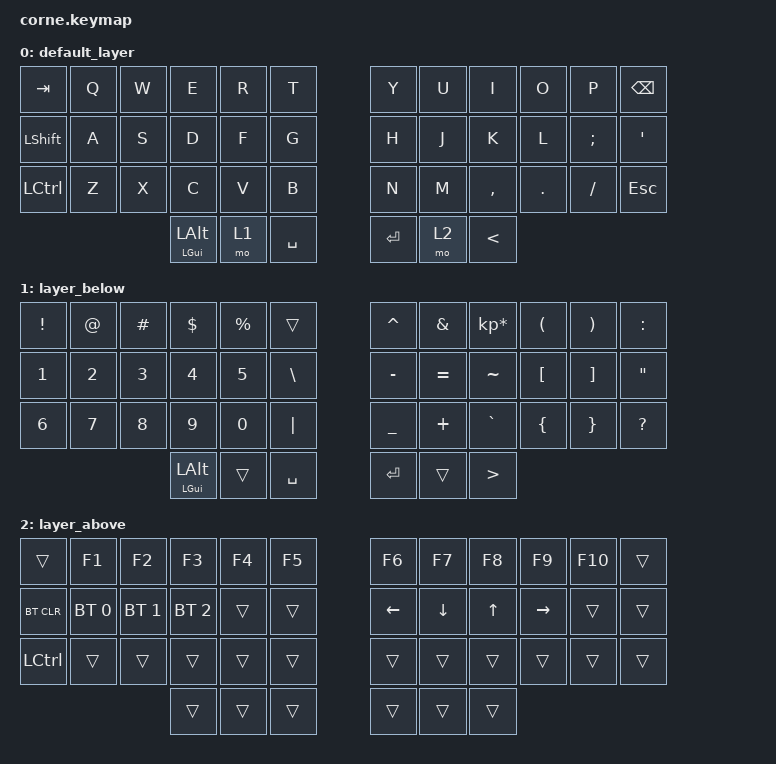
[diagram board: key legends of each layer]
/*
 * Copyright (c) 2020 The ZMK Contributors
 *
 * SPDX-License-Identifier: MIT
 */

#include <behaviors.dtsi>
#include <dt-bindings/zmk/keys.h>
#include <dt-bindings/zmk/bt.h>

/ {

        behaviors {
          tp: tap_preferred {
            compatible = "zmk,behavior-hold-tap";
            label = "TAP_PREFERRED";
            #binding-cells = <2>;
            tapping-term-ms = <150>;
            quick-tap-ms = <0>;
            flavor = "tap-preferred";
            bindings = <&kp>, <&kp>;
          }; 
        };

        keymap {
                compatible = "zmk,keymap";

                default_layer {
// -----------------------------------------------------------------------------------------
// |  TAB |  Q  |  W  |  E  |  R  |    T  |     |  Y  |  U   |  I  |  O  |  P  | BKSP |
// | SHFT |  A  |  S  |  D  |  F  |    G  |     |  H  |  J   |  K  |  L  |  ;  |  '   |
// | CTRL |  Z  |  X  |  C  |  V  |    B  |     |  N  |  M   |  ,  |  .  |  /  | ESC  |
//                  | GUI/ALT | LWR | SPC |     | ENT | RSE  |  <  |
                        bindings = <
   &kp TAB   &kp Q &kp W &kp E &kp R &kp T   &kp Y &kp U  &kp I     &kp O   &kp P    &kp BKSP
   &kp LSHFT &kp A &kp S &kp D &kp F &kp G   &kp H &kp J  &kp K     &kp L   &kp SEMI &kp SQT
   &kp LCTRL &kp Z &kp X &kp C &kp V &kp B   &kp N &kp M  &kp COMMA &kp DOT &kp FSLH &kp ESC
                  &tp LGUI LALT &mo 1 &kp SPACE   &kp RET &mo 2 &kp LT
                        >;
                };

                layer_below {
// -----------------------------------------------------------------------------------------
// |  !  |  @  |  #  |  $  |  %  |     |         |  ^  |  &  |  *  |  (  |  )  |  :  |
// |  1  |  2  |  3  |  4  |  5  |  \  |         |  -  |  =  |  ~  |  [  |  ]  |  "  |
// |  6  |  7  |  8  |  9  |  0  | "|" |         |  _  |  +  |  `  |  {  |  }  |  ?  |
//               | GUI/ALT |     | SPC |         | ENT |     | > |
                        bindings = <
   &kp EXCL &kp AT &kp HASH &kp DLLR &kp PRCNT &trans       &kp CARET  &kp AMPS  &kp KP_MULTIPLY &kp LPAR &kp RPAR &kp COLON
   &kp N1   &kp N2 &kp N3   &kp N4   &kp N5    &kp BSLH       &kp MINUS  &kp EQUAL &kp TILDE       &kp LBKT &kp RBKT &kp DQT
   &kp N6   &kp N7 &kp N8   &kp N9   &kp N0    &kp PIPE       &kp UNDER  &kp PLUS  &kp GRAVE       &kp LBRC &kp RBRC &kp QMARK
                         &tp LGUI LALT &trans  &kp SPACE     &kp RET &trans  &kp GT
                        >;
                };

                layer_above {
// -----------------------------------------------------------------------------------------
// |       |  F1  |  F2  |  F3  |  F4  |  F5 |     |  F6 |  F7 |  F8 |  F9 | F10 |     |
// | BTCLR | BT1  | BT2  | BT3  |      |     |     | LFT | DWN |  UP | RGT |     |     |
// |  CTRL   |      |      |      |      |     |     |     |     |     |     |     |     |
//                       |      |      |     |     |     |     |     |
                        bindings = <
   &trans  &kp F1  &kp F2  &kp F3  &kp F4  &kp F5    &kp F6 &kp F7   &kp F8   &kp F9 &kp F10   &trans
   &bt BT_CLR  &bt BT_SEL 0  &bt BT_SEL 1  &bt BT_SEL 2  &trans  &trans    &kp LEFT &kp DOWN &kp UP &kp RIGHT &trans &trans
   &kp LCTRL  &trans  &trans  &trans  &trans  &trans    &trans &trans   &trans   &trans &trans    &trans
                           &trans  &trans  &trans    &trans &trans   &trans
                        >;
                };
        };
};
